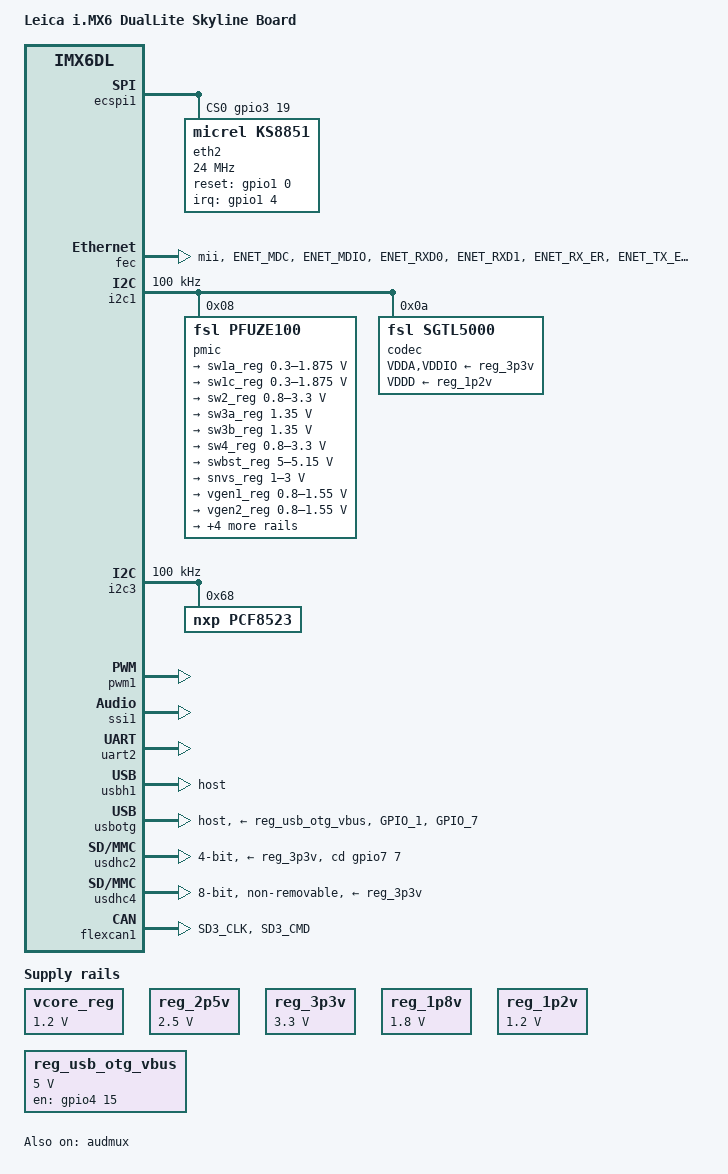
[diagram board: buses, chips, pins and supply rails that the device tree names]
/*
 * Copyright 2013 Timesys
 * Copyright 2012 Freescale Semiconductor, Inc.
 * Copyright 2011 Linaro Ltd.
 *
 * The code contained herein is licensed under the GNU General Public
 * License. You may obtain a copy of the GNU General Public License
 * Version 2 or later at the following locations:
 *
 * http://www.opensource.org/licenses/gpl-license.html
 * http://www.gnu.org/copyleft/gpl.html
 */

/dts-v1/;

#include "imx6dl.dtsi"

/ {
        model = "Leica i.MX6 DualLite Skyline Board";
        compatible = "fsl,imx6dl-skyline", "fsl,imx6dl";

	aliases {
		mxcfb0 = &mxcfb1;
	};

	regulators {
		compatible = "simple-bus";

		vcore_reg: vcore {
			compatible = "regulator-fixed";
			regulator-name = "vcore";
			regulator-min-microvolt = <1200000>;
			regulator-max-microvolt = <1200000>;
		};

        reg_2p5v: 2p5v {
                compatible = "regulator-fixed";
                regulator-name = "2P5V";
                regulator-min-microvolt = <2500000>;
                regulator-max-microvolt = <2500000>;
                regulator-always-on;
        };

        reg_3p3v: 3p3v {
                compatible = "regulator-fixed";
                regulator-name = "3P3V";
                regulator-min-microvolt = <3300000>;
                regulator-max-microvolt = <3300000>;
                regulator-always-on;
        };

        reg_1p8v: 1p8v {
                compatible = "regulator-fixed";
                regulator-name = "1P8V";
                regulator-min-microvolt = <1800000>;
                regulator-max-microvolt = <1800000>;
                regulator-always-on;
        };

        reg_1p2v: 1p2v {
                compatible = "regulator-fixed";
                regulator-name = "1P2V";
                regulator-min-microvolt = <1200000>;
                regulator-max-microvolt = <1200000>;
                regulator-always-on;
        };

        reg_usb_otg_vbus: usb_otg_vbus {
            compatible = "regulator-fixed";
            regulator-name = "usb_otg_vbus";
            regulator-min-microvolt = <5000000>;
            regulator-max-microvolt = <5000000>;
            gpio = <&gpio4 15 0>;
            enable-active-high;
        };
	};

    sound {
            compatible = "fsl,imx6dl-skyline-sgtl5000",
                         "fsl,imx-audio-sgtl5000";
            model = "imx6dl-sgtl5000";
            ssi-controller = <&ssi1>;
            audio-codec = <&codec>;
            audio-routing =
                    "MIC_IN", "Mic Jack",
                    "Mic Jack", "Mic Bias",
                    "Headphone Jack", "HP_OUT";
            mux-int-port = <1>;
            mux-ext-port = <3>;
    };

	mxcfb1: fb@0 {
            compatible = "fsl,mxc_sdc_fb";
            disp_dev = "lcd";
            interface_pix_fmt = "RGB24";
            mode_str ="CLAA-WVGA";
            default_bpp = <24>;
            int_clk = <0>;
            late_init = <0>;
            status = "disabled";
	};

	lcd@0 {
            compatible = "fsl,lcd";
            ipu_id = <0>;
            disp_id = <0>;
            default_ifmt = "RGB24";
            pinctrl-names = "default";
            pinctrl-0 = <&pinctrl_ipu1>;

            status = "okay";
	};

     dvi_ctrl {
        lcd-pwr-gpio = <&gpio6 4 0>;
        dvi-pwr-gpio = <&gpio5 18 1>;
        dvi-detect-gpio = <&gpio5 21 0>;
        dvi-reset-gpio = <&gpio4 20 0>;
        dvi-ddc-i2c-gpio = <&gpio6 5 0>;
     };
};

&audmux {
	pinctrl-names = "default";
	pinctrl-0 = <&pinctrl_audmux_2>;
	status = "okay";
};

&cpu0 {
	arm-supply = <&reg_arm>;
	soc-supply = <&reg_soc>;
	pu-supply = <&reg_pu>;
};

&ecspi1 {
	fsl,spi-num-chipselects = <1>;
	cs-gpios = <&gpio3 19 0>;
	pinctrl-names = "default";
	pinctrl-0 = <&pinctrl_ecspi1_1>;
	status = "okay";

	eth2: ks8851@0 {
		compatible = "micrel,ks8851";
		reg = <0>;
        reset-gpios = <&gpio1 0 0>;
		spi-max-frequency = <24000000>;

		interrupt-parent = <&gpio1>;
		interrupts = <4 1>;
	};
};

&ecspi2 {
	fsl,spi-num-chipselects = <2>;
	cs-gpios = <&gpio5 29 0>, <&gpio3 25 0>;
	pinctrl-names = "default";
	status = "disabled";
};

&fec {
	pinctrl-names = "default";
	pinctrl-0 = <&pinctrl_enet>;
	phy-mode = "mii";
    phy-reset-gpios = <&gpio3 23 0>;
    phy-reset-duration = <200>;
    fsl,magic-packet;
	status = "okay";

#if 0
    mdio: mdio@0 {
        #address-cells = <1>;
        #size-cells = <0>;
    };
#endif

#if 0
	/*#address-cells = <0>;*/
	/*#size-cells = <1>;*/
	phy_int {
		reg = <0x6>;
		interrupt-parent = <&gpio5>;
		interrupts = <30 IRQ_TYPE_LEVEL_LOW>;
	};
#endif

#if 0
	mdio {
		#address-cells = <1>;
		#size-cells = <0>;

		ethphy1: ethernet-phy@1 {
			reg = <1>;
		};

		ethphy2: ethernet-phy@2 {
			reg = <2>;
		};
	};
#endif
};

&gpc {
	fsl,cpu_pupscr_sw2iso = <0xf>;
	fsl,cpu_pupscr_sw = <0xf>;
	fsl,cpu_pdnscr_iso2sw = <0x1>;
	fsl,cpu_pdnscr_iso = <0x1>;
	fsl,ldo-bypass = <0>; /* use ldo-bypass, u-boot will check it and configure */
	fsl,wdog-reset = <1>; /* watchdog select of reset source */
	pu-supply = <&reg_pu>;
};

&gpu {
	pu-supply = <&reg_pu>;
};

&i2c1 {
	clock-frequency = <100000>;
	pinctrl-names = "default";
	pinctrl-0 = <&pinctrl_i2c1_2>;
	status = "okay";

	pmic: pfuze100@08 {
		compatible = "fsl,pfuze100";
		reg = <0x08>;

		regulators {
			sw1a_reg: sw1ab {
				regulator-min-microvolt = <300000>;
				regulator-max-microvolt = <1875000>;
				regulator-boot-on;
				regulator-always-on;
				regulator-ramp-delay = <6250>;
			};

			sw1c_reg: sw1c {
				regulator-min-microvolt = <300000>;
				regulator-max-microvolt = <1875000>;
				regulator-boot-on;
				regulator-always-on;
				regulator-ramp-delay = <6250>;
			};

			sw2_reg: sw2 {
				regulator-min-microvolt = <800000>;
				regulator-max-microvolt = <3300000>;
				regulator-boot-on;
				regulator-always-on;
			};

			sw3a_reg: sw3a {
				/*regulator-min-microvolt = <400000>;*/
				/*regulator-max-microvolt = <1975000>;*/
				regulator-min-microvolt = <1350000>;
				regulator-max-microvolt = <1350000>;
				regulator-boot-on;
				regulator-always-on;
			};

			sw3b_reg: sw3b {
				/*regulator-min-microvolt = <400000>;*/
				/*regulator-max-microvolt = <1975000>;*/
				regulator-min-microvolt = <1350000>;
				regulator-max-microvolt = <1350000>;
				regulator-boot-on;
				regulator-always-on;
			};

			sw4_reg: sw4 {
				regulator-min-microvolt = <800000>;
				regulator-max-microvolt = <3300000>;
			};

			swbst_reg: swbst {
				regulator-min-microvolt = <5000000>;
				regulator-max-microvolt = <5150000>;
			};

			snvs_reg: vsnvs {
				regulator-min-microvolt = <1000000>;
				regulator-max-microvolt = <3000000>;
				regulator-boot-on;
				regulator-always-on;
			};

			vref_reg: vrefddr {
				regulator-boot-on;
				regulator-always-on;
			};

			vgen1_reg: vgen1 {
				regulator-min-microvolt = <800000>;
				regulator-max-microvolt = <1550000>;
			};

			vgen2_reg: vgen2 {
				regulator-min-microvolt = <800000>;
				regulator-max-microvolt = <1550000>;
			};

			vgen3_reg: vgen3 {
				regulator-min-microvolt = <1800000>;
				regulator-max-microvolt = <3300000>;
			};

			vgen4_reg: vgen4 {
				regulator-min-microvolt = <1800000>;
				regulator-max-microvolt = <3300000>;
				regulator-always-on;
			};

			vgen5_reg: vgen5 {
				regulator-min-microvolt = <1800000>;
				regulator-max-microvolt = <3300000>;
				regulator-always-on;
			};

			vgen6_reg: vgen6 {
				regulator-min-microvolt = <1800000>;
				regulator-max-microvolt = <3300000>;
				regulator-always-on;
			};
		};
	};

    codec: sgtl5000@0a {
            compatible = "fsl,sgtl5000";
            reg = <0x0a>;
            clocks = <&clks 201>;
            VDDA-supply = <&reg_3p3v>;
            VDDIO-supply = <&reg_3p3v>;
            VDDD-supply = <&reg_1p2v>;
    };
};

&i2c3 {
    clock-frequency = <100000>;
    pinctrl-names = "default";
    pinctrl-0 = <&pinctrl_i2c3_2>;
    status = "okay";

    pcf8523@68 {
            compatible = "nxp,pcf8523";
            reg = <0x68>;
    };
};

&iomuxc {
	pinctrl-names = "default";
	pinctrl-0 = <&pinctrl_hog>;

    skyline {
		pinctrl_hog: hoggrp-1 {
			fsl,pins = <
                        /* CCM_CLK01 for audio codec sgtl5000 */
                        MX6QDL_PAD_CSI0_MCLK__CCM_CLKO1   0x80000000

                        /* WDOG 1 */
                        MX6QDL_PAD_GPIO_9__WDOG1_B 0x80000000

                        /* ??? */
                        MX6QDL_PAD_GPIO_8__XTALOSC_REF_CLK_32K 0x130b0

                        /* spi 1 cs */
                        MX6QDL_PAD_EIM_D19__GPIO3_IO19  0x80000000
                        /* spi 2 cs */
                        /*MX6QDL_PAD_CSI0_DAT11__GPIO5_IO29 0x80000000*/
                        /*MX6QDL_PAD_EIM_D25__GPIO3_IO25    0x80000000*/

                        /* USB OTG power pin */
                        MX6QDL_PAD_KEY_COL4__USB_OTG_OC  0x80000000
                        /* USB OTG ： HOST MODE */
                        /*MX6QDL_PAD_GPIO_7__USB_OTG_HOST_MODE  0x80000000*/
                        MX6QDL_PAD_EIM_D30__USB_H1_OC    0x80000000

                        /* USB OTG PWR ENABLE*/
                        /*MX6QDL_PAD_KEY_ROW4__GPIO4_IO15  0x80000000*/
                        MX6QDL_PAD_KEY_ROW4__USB_OTG_PWR 0x80000000

                        /* GPIO  1 */
                        /* ETH_SPI_RST */
                        MX6QDL_PAD_GPIO_0__GPIO1_IO00   0x80000000
                        /* ETH_SPI_PME */
                        MX6QDL_PAD_GPIO_2__GPIO1_IO02   0x80000000
                        /* ETH_SPI_INTRN */
                        MX6QDL_PAD_GPIO_4__GPIO1_IO04   0x80000000
                        /* rtc irq  */
                        MX6QDL_PAD_GPIO_5__GPIO1_IO05   0x80000000
                        /*MX6QDL_PAD_GPIO_7__GPIO1_IO07   0x80000000 *
                        MX6QDL_PAD_SD1_DAT2__GPIO1_IO19   0x80000000
                        MX6QDL_PAD_SD1_CLK__GPIO1_IO20   0x80000000

                        /* GPIO  2 */
                        /*  SOFT SWITCH LED2 */
                        MX6QDL_PAD_EIM_OE__GPIO2_IO25   0x80000000

                        /* GPIO  3 */
                        MX6QDL_PAD_EIM_D20__GPIO3_IO20   0x80000000
                        /* ETH_RSTN */
                        MX6QDL_PAD_EIM_D23__GPIO3_IO23   0x80000000

                        /* GPIO  4 */
                        /*  SOFT SWITCH LED1 */
                        MX6QDL_PAD_KEY_COL1__GPIO4_IO08  0x80000000
                        /* speaker shutdown */
                        MX6QDL_PAD_KEY_ROW3__GPIO4_IO13  0x80000000
                        MX6QDL_PAD_KEY_COL4__GPIO4_IO14  0x80000000
                        /*MX6QDL_PAD_DI0_PIN4__GPIO4_IO20  0x80000000*/

                        /* GPIO  5 */
                        /* dvi power control */
                        MX6QDL_PAD_CSI0_PIXCLK__GPIO5_IO18   0x80000000
                        MX6QDL_PAD_CSI0_DATA_EN__GPIO5_IO20  0x80000000
                        /* dvi detect */
                        MX6QDL_PAD_CSI0_VSYNC__GPIO5_IO21    0x80000000
                        /* ENET irq */
                        MX6QDL_PAD_CSI0_DAT12__GPIO5_IO30    0x80000000

                        /* GPIO  6 */
                        /* LCD_PWR_CONTROL */
                        MX6QDL_PAD_CSI0_DAT18__GPIO6_IO04   0x40013070
                        /* DVI_DDC_I2C_ENABLE */
                        MX6QDL_PAD_CSI0_DAT19__GPIO6_IO05   0x80000000
                        /* emmc: SD4 RESET */
                        MX6QDL_PAD_NANDF_CLE__GPIO6_IO07    0x80000000
                        MX6QDL_PAD_NANDF_ALE__GPIO6_IO08    0x80000000
                        MX6QDL_PAD_NANDF_CS2__GPIO6_IO15    0x80000000
                        /* PMIC irq b */
                        MX6QDL_PAD_SD3_DAT7__GPIO6_IO17     0x80000000
                        /* SOFT SWITCH */
                        MX6QDL_PAD_SD3_DAT6__GPIO6_IO18     0x80000000
                        MX6QDL_PAD_EIM_BCLK__GPIO6_IO31     0x80000000

                        /* GPIO  7 */
                        /* POWER_GOOD */
                        MX6QDL_PAD_SD3_DAT5__GPIO7_IO00    0x80000000
                        MX6QDL_PAD_SD3_DAT4__GPIO7_IO01    0x80000000
                        /* CAN1 lbk */
                        MX6QDL_PAD_SD3_DAT2__GPIO7_IO06    0x80000000
                        /* SD2_DETECT： SD3_DATA3(B15) */
                        MX6QDL_PAD_SD3_DAT3__GPIO7_IO07    0x80000000
                        MX6QDL_PAD_GPIO_17__GPIO7_IO12     0x80000000

			>;
		};

		pinctrl_flexcan1_4: flexcan1grp-4 {
			fsl,pins = <
				MX6QDL_PAD_SD3_CLK__FLEXCAN1_RX 0x80000000
				MX6QDL_PAD_SD3_CMD__FLEXCAN1_TX 0x80000000
			>;
		};

        pinctrl_ecspi2_2: ecspi2grp-2 {
            fsl,pins = <
                MX6QDL_PAD_CSI0_DAT10__IPU1_CSI0_DATA10 0x80000000
                MX6QDL_PAD_EIM_CS1__ECSPI2_MOSI 0x100b1
                MX6QDL_PAD_EIM_CS0__ECSPI2_SCLK 0x100b1
            >;
        };

		pinctrl_usbotg_3: usbotggrp-3 {
			fsl,pins = <
				MX6QDL_PAD_GPIO_1__USB_OTG_ID 0x17059
#define GP_USBOTG_HUB_RESET	<&gpio1 7 GPIO_ACTIVE_LOW>
			MX6QDL_PAD_GPIO_7__GPIO1_IO07		0x0b0b0
			>;
		};

		pinctrl_ipu1: ipu1grp {
			fsl,pins = <
				MX6QDL_PAD_DI0_DISP_CLK__IPU1_DI0_DISP_CLK 0x10
				MX6QDL_PAD_DI0_PIN15__IPU1_DI0_PIN15       0x10
				MX6QDL_PAD_DI0_PIN2__IPU1_DI0_PIN02        0x10
				MX6QDL_PAD_DI0_PIN3__IPU1_DI0_PIN03        0x10
				/*MX6QDL_PAD_DI0_PIN4__IPU1_DI0_PIN04        0x80000000*/
				MX6QDL_PAD_DISP0_DAT0__IPU1_DISP0_DATA00   0x10
				MX6QDL_PAD_DISP0_DAT1__IPU1_DISP0_DATA01   0x10
				MX6QDL_PAD_DISP0_DAT2__IPU1_DISP0_DATA02   0x10
				MX6QDL_PAD_DISP0_DAT3__IPU1_DISP0_DATA03   0x10
				MX6QDL_PAD_DISP0_DAT4__IPU1_DISP0_DATA04   0x10
				MX6QDL_PAD_DISP0_DAT5__IPU1_DISP0_DATA05   0x10
				MX6QDL_PAD_DISP0_DAT6__IPU1_DISP0_DATA06   0x10
				MX6QDL_PAD_DISP0_DAT7__IPU1_DISP0_DATA07   0x10
				MX6QDL_PAD_DISP0_DAT8__IPU1_DISP0_DATA08   0x10
				MX6QDL_PAD_DISP0_DAT9__IPU1_DISP0_DATA09   0x10
				MX6QDL_PAD_DISP0_DAT10__IPU1_DISP0_DATA10  0x10
				MX6QDL_PAD_DISP0_DAT11__IPU1_DISP0_DATA11  0x10
				MX6QDL_PAD_DISP0_DAT12__IPU1_DISP0_DATA12  0x10
				MX6QDL_PAD_DISP0_DAT13__IPU1_DISP0_DATA13  0x10
				MX6QDL_PAD_DISP0_DAT14__IPU1_DISP0_DATA14  0x10
				MX6QDL_PAD_DISP0_DAT15__IPU1_DISP0_DATA15  0x10
				MX6QDL_PAD_DISP0_DAT16__IPU1_DISP0_DATA16  0x10
				MX6QDL_PAD_DISP0_DAT17__IPU1_DISP0_DATA17  0x10
				MX6QDL_PAD_DISP0_DAT18__IPU1_DISP0_DATA18  0x10
				MX6QDL_PAD_DISP0_DAT19__IPU1_DISP0_DATA19  0x10
				MX6QDL_PAD_DISP0_DAT20__IPU1_DISP0_DATA20  0x10
				MX6QDL_PAD_DISP0_DAT21__IPU1_DISP0_DATA21  0x10
				MX6QDL_PAD_DISP0_DAT22__IPU1_DISP0_DATA22  0x10
				MX6QDL_PAD_DISP0_DAT23__IPU1_DISP0_DATA23  0x10
			>;
		};

		pinctrl_enet: enetgrp {
			fsl,pins = <
				MX6QDL_PAD_ENET_MDC__ENET_MDC              0x1b0b0
				MX6QDL_PAD_ENET_MDIO__ENET_MDIO            0x1b0b0
				MX6QDL_PAD_ENET_RXD0__ENET_RX_DATA0        0x1b0b0
				MX6QDL_PAD_ENET_RXD1__ENET_RX_DATA1        0x1b0b0
				MX6QDL_PAD_ENET_RX_ER__ENET_RX_ER          0x1b0b0
				MX6QDL_PAD_ENET_TX_EN__ENET_TX_EN          0x1b0b0
				MX6QDL_PAD_ENET_TXD0__ENET_TX_DATA0        0x1b0b0
				MX6QDL_PAD_ENET_TXD1__ENET_TX_DATA1        0x1b0b0
				MX6QDL_PAD_ENET_CRS_DV__ENET_RX_EN         0x1b0b0
				MX6QDL_PAD_ENET_REF_CLK__ENET_TX_CLK       0x1b0b0
				MX6QDL_PAD_KEY_COL0__ENET_RX_DATA3         0x1b0b0
				MX6QDL_PAD_KEY_ROW0__ENET_TX_DATA3         0x1b0b0
				MX6QDL_PAD_KEY_ROW1__ENET_COL              0x1b0b0
				MX6QDL_PAD_KEY_COL2__ENET_RX_DATA2         0x1b0b0
				MX6QDL_PAD_KEY_ROW2__ENET_TX_DATA2         0x1b0b0
				MX6QDL_PAD_KEY_COL3__ENET_CRS              0x1b0b0
				MX6QDL_PAD_GPIO_18__ENET_RX_CLK            0x1b0b0
				MX6QDL_PAD_GPIO_19__ENET_TX_ER             0x1b0b0
			>;
		};
    };
};

&pwm1 {
	pinctrl-names = "default";
	pinctrl-0 = <&pinctrl_pwm1_1>;
	status = "okay";
};

&ssi1 {
	fsl,mode = "i2s-slave";
	status = "okay";
};

/* UART 2 is the debug/console port */
&uart2 {
	pinctrl-names = "default";
	pinctrl-0 = <&pinctrl_uart2_1>;
	status = "okay";
};

&usbh1 {
    phy_type = "utmi";
    dr_mode = "host";
    status = "okay";
};

&usbotg {
    vbus-supply = <&reg_usb_otg_vbus>;
	pinctrl-names = "default";
	pinctrl-0 = <&pinctrl_usbotg_3>;
	reset-gpios = GP_USBOTG_HUB_RESET;
    phy_type = "utmi";
    dr_mode = "host";
	disable-over-current;
	status = "okay";
};

&usdhc2 {
        pinctrl-names = "default";
        pinctrl-0 = <&pinctrl_usdhc2_2>;
        cd-gpios = <&gpio7 7 0>;
        vmmc-supply = <&reg_3p3v>;
        bus-width = <4>;
        no-1-8-v;
        keep-power-in-suspend;
        enable-sdio-wakeup;
        status = "okay";
};

&usdhc4 {
        pinctrl-names = "default";
        pinctrl-0 = <&pinctrl_usdhc4_1>;
        vmmc-supply = <&reg_3p3v>;
        bus-width = <8>;
        non-removable;
        no-1-8-v;
        keep-power-in-suspend;
        status = "okay";
};

&vpu {
	pu-supply = <&reg_pu>;
};

/*
 * CAN1 is connected to the expansion port.
 * 
 */
&flexcan1 {
        pinctrl-names = "default";
        pinctrl-0 = <&pinctrl_flexcan1_4>;
        trx-en-gpio = <&gpio7 6 0>;
        trx-stby-gpio = <&gpio7 6 0>;
	    status = "okay";
};

&mxcfb1 {
	    status = "okay";
};
